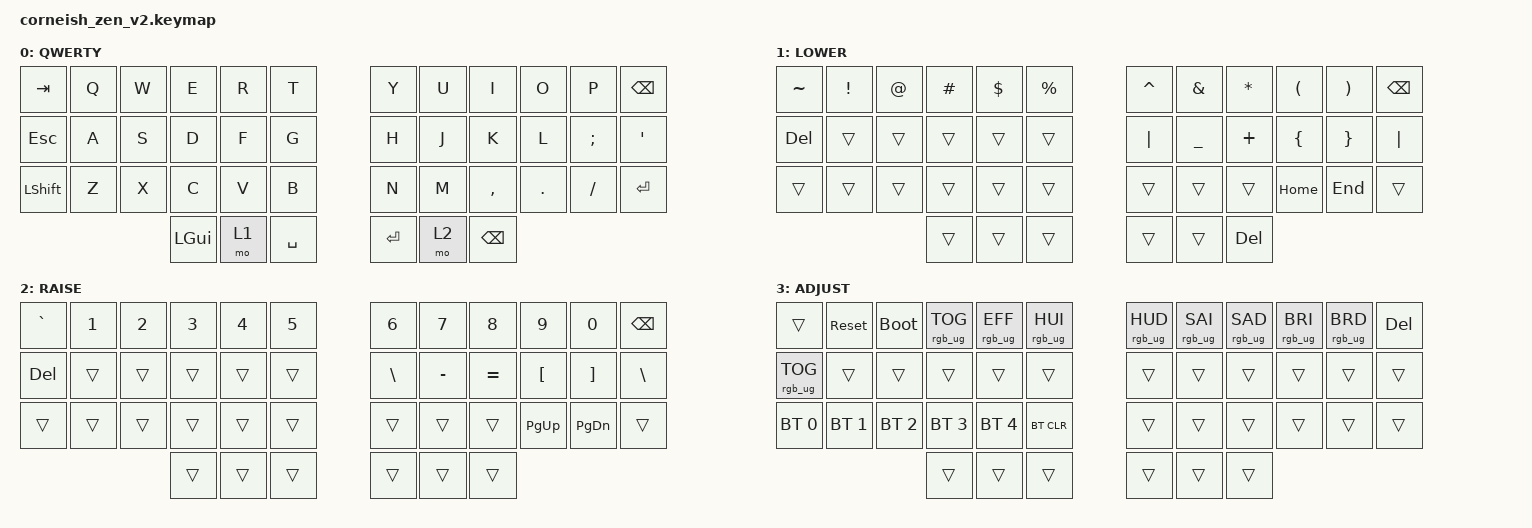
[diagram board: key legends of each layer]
/*
 * Copyright (c) 2020 The ZMK Contributors
 *
 * SPDX-License-Identifier: MIT
 */

#include <behaviors.dtsi>
#include <dt-bindings/zmk/keys.h>
#include <dt-bindings/zmk/bt.h>
#include <dt-bindings/zmk/rgb.h>

/ {
    keymap {
        compatible = "zmk,keymap";

        default_layer {
            label = "QWERTY";
            bindings = <
   &kp TAB   &kp Q &kp W &kp E &kp R &kp T   &kp Y &kp U  &kp I     &kp O   &kp P    &kp BSPC
   &kp ESC   &kp A &kp S &kp D &kp F &kp G   &kp H &kp J  &kp K     &kp L   &kp SEMI &kp SQT
   &kp LSHFT &kp Z &kp X &kp C &kp V &kp B   &kp N &kp M  &kp COMMA &kp DOT &kp FSLH &kp RET
                  &kp LGUI &mo 1 &kp SPACE   &kp RET &mo 2 &kp BSPC
            >;
        };

        lower_layer {
            label = "LOWER";
            bindings = <
   &kp TILDE &kp EXCL &kp AT &kp HASH &kp DLLR &kp PRCNT   &kp CARET &kp AMPS  &kp ASTRK &kp LPAR &kp RPAR &kp BSPC
   &kp DEL   &trans   &trans &trans   &trans   &trans      &kp PIPE  &kp UNDER &kp PLUS  &kp LBRC &kp RBRC &kp PIPE
   &trans    &trans   &trans &trans   &trans   &trans      &trans    &trans    &trans    &kp HOME &kp END  &trans
                             &trans &trans &trans   &trans &trans &kp DEL
            >;
        };

        raise_layer {
            label = "RAISE";
            bindings = <
   &kp GRAVE &kp N1 &kp N2 &kp N3 &kp N4 &kp N5   &kp N6   &kp N7    &kp N8    &kp N9   &kp N0   &kp BSPC
   &kp DEL   &trans &trans &trans &trans &trans   &kp BSLH &kp MINUS &kp EQUAL &kp LBKT &kp RBKT &kp BSLH
   &trans    &trans &trans &trans &trans &trans   &trans   &trans    &trans    &kp PG_UP &kp PG_DN &trans
                           &trans &trans &trans   &trans &trans &trans
            >;
        };

        adjust_layer {
            label = "ADJUST";
            bindings = <
   &trans        &sys_reset   &bootloader  &rgb_ug RGB_TOG &rgb_ug RGB_EFF &rgb_ug RGB_HUI   &rgb_ug RGB_HUD &rgb_ug RGB_SAI &rgb_ug RGB_SAD &rgb_ug RGB_BRI &rgb_ug RGB_BRD &kp DEL
   &rgb_ug RGB_TOG &trans     &trans       &trans          &trans          &trans            &trans          &trans          &trans          &trans          &trans          &trans
   &bt BT_SEL 0  &bt BT_SEL 1 &bt BT_SEL 2 &bt BT_SEL 3    &bt BT_SEL 4    &bt BT_CLR        &trans          &trans          &trans          &trans          &trans          &trans
                                            &trans &trans &trans   &trans &trans &trans
            >;
        };
    };

    conditional_layers {
        compatible = "zmk,conditional-layers";
        tri_layer {
            if-layers = <1 2>;
            then-layer = <3>;
        };
    };
};
